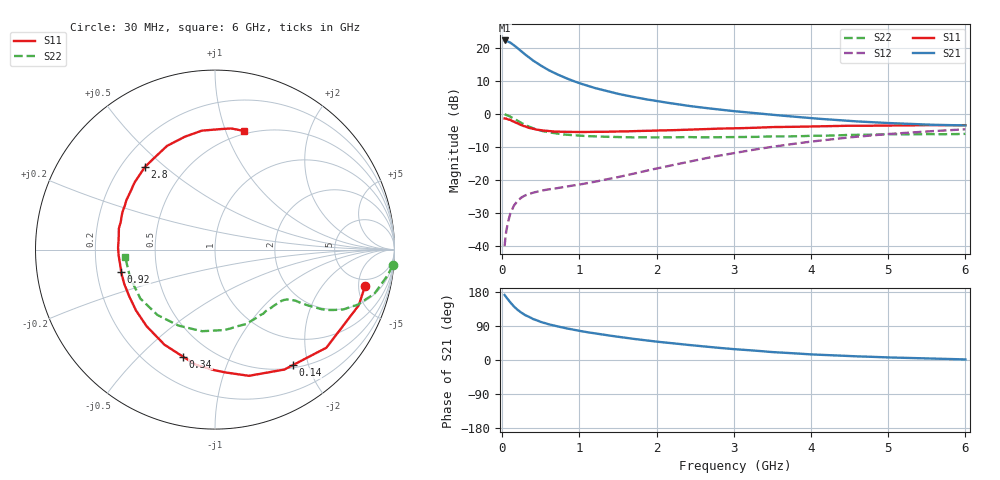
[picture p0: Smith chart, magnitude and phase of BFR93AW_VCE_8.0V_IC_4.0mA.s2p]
! Infineon Technologies  Discrete & RF Semiconductors
! BFR93AW
! VCE =  8.0 V,  IC =  4.0 mA
! Common Emitter S-Parameters:  Nov 2015
# GHz  S  MA  R  50
!  f  S11  S21  S12  S22
! GHz  MAG  ANG  MAG  ANG  MAG  ANG  MAG  ANG
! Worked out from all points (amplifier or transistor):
!   206 points, 30 MHz to 6 GHz, reference 50 ohm
!   highest |S21| = 22.3 dB at 30 MHz (marker M1)
!   |S21| within 3 dB of that: start of sweep to 231.9 MHz
!   unconditionally stable (mu >= 1): 1.008 GHz to 2.23 GHz
!   at 200 MHz: K = 0.26, MSG = 23.1 dB, |S12| = -26.2 dB
!   at 1.56 GHz: K = 1.11, MAG = 10.3 dB, |S12| = -18.8 dB
!   at 6 GHz: K = 0.93, MSG = 0.6 dB, |S12| = -4.6 dB
!   S11 on the Smith chart (normalised r, x): 30 MHz: 3.79, -5.95; 140 MHz: 0.54, -1.75; 340 MHz: 0.35, -0.68; 920 MHz: 0.31, -0.11; 2.8 GHz: 0.30, +0.43; 6 GHz: 0.47, +1.16
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0.03  0.8604 -13.7  13.05 171.5  0.01 81.8  0.9937 -5.1
0.05  0.8588 -21.2  12.96 165.7  0.0165 80.1  0.974 -8.3
0.1  0.8269 -41.4  12.22 152.8  0.03 70.0  0.9213 -15.5
0.14  0.7761 -56.1  11.27 143.7  0.0388 62.6  0.8668 -19.8
0.15  0.7719 -60.0  11.09 141.2  0.0411 61.2  0.854 -21.0
0.2  0.728 -75.0  9.952 132.1  0.0488 54.7  0.7889 -25.0
0.24  0.6858 -85.5  9.069 125.9  0.0537 51.1  0.7409 -27.0
0.3  0.6497 -99.7  7.947 118.0  0.059 47.8  0.6814 -29.2
0.34  0.6224 -106.6  7.329 114.5  0.0612 46.4  0.6523 -29.8
0.4  0.6002 -117.9  6.466 108.0  0.0646 44.5  0.609 -30.9
0.44  0.5849 -123.3  6.041 105.2  0.0664 44.0  0.5896 -31.3
0.5  0.5723 -131.8  5.433 100.4  0.0691 43.4  0.5607 -31.9
0.6  0.5556 -142.4  4.64 94.3  0.0725 43.8  0.5307 -32.4
0.92  0.5369 -166.6  3.177 80.0  0.0831 48.8  0.4794 -35.6
1.04  0.5356 -173.4  2.841 75.6  0.0875 51.4  0.4691 -37.4
1.5  0.5484 167.5  2.03 61.3  0.111 60.7  0.4507 -46.0
2.02  0.5656 150.4  1.563 48.0  0.1515 66.8  0.445 -58.2
2.8  0.6034 130.5  1.178 32.1  0.234 67.6  0.4475 -78.2
3.1  0.613 123.4  1.082 27.3  0.2689 65.7  0.4503 -86.5
4.1  0.6529 103.2  0.851 14.0  0.3952 55.6  0.4699 -118.8
5.1  0.6719 87.6  0.725 6.3  0.5086 41.8  0.4948 -149.8
6  0.6803 76.5  0.674 1.5  0.5888 29.7  0.5022 -175.5
